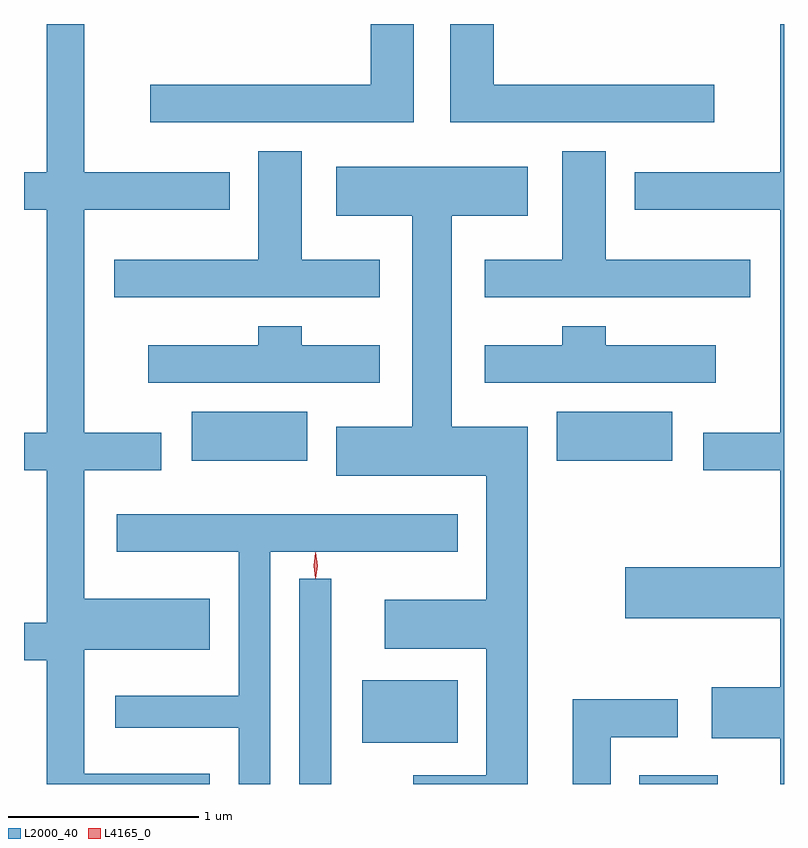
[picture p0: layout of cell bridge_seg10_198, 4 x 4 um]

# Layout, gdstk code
import gdstk
lib = gdstk.Library(unit=1e-6, precision=1e-09)
def R(c, l, rs):  # rectangles x0, y0, x1, y1
    for r in rs: c.add(gdstk.rectangle(r[:2], r[2:], *l))
def P(c, l, *ps):  # polygons
    for p in ps: c.add(gdstk.Polygon(p, *l))
L2000_40 = (2000, 40)
L4165_0 = (4165, 0)

bridge_seg10_198 = lib.new_cell('bridge_seg10_198')
R(bridge_seg10_198, L2000_40, [(1711.961,2141.094,1712.129,2142.173), (1713.751,2141.094,1714.164,2141.139), (1712.291,2141.311,1712.794,2141.639), (1711.396,2142.796,1712.004,2143.054), (1713.316,2142.796,1713.924,2143.054)])
P(bridge_seg10_198, L2000_40, [(1711.489,2141.149),(1710.829,2141.149),(1710.829,2141.801),(1711.489,2141.801),(1711.489,2142.069),(1710.829,2142.069),(1710.829,2142.746),(1711.234,2142.746),(1711.234,2142.944),(1710.829,2142.944),(1710.829,2144.116),(1711.594,2144.116),(1711.594,2144.314),(1710.829,2144.314),(1710.829,2145.094),(1710.631,2145.094),(1710.631,2144.314),(1710.512,2144.314),(1710.512,2144.116),(1710.631,2144.116),(1710.631,2142.944),(1710.512,2142.944),(1710.512,2142.746),(1710.631,2142.746),(1710.631,2141.944),(1710.512,2141.944),(1710.512,2141.746),(1710.631,2141.746),(1710.631,2141.094),(1711.489,2141.094)],
  [(1714.512,2145.094),(1714.491,2145.094),(1714.491,2144.314),(1713.726,2144.314),(1713.726,2144.116),(1714.491,2144.116),(1714.491,2142.944),(1714.086,2142.944),(1714.086,2142.746),(1714.491,2142.746),(1714.491,2142.234),(1713.676,2142.234),(1713.676,2141.966),(1714.491,2141.966),(1714.491,2141.604),(1714.131,2141.604),(1714.131,2141.336),(1714.491,2141.336),(1714.491,2141.094),(1714.512,2141.094)],
  [(1712.564,2145.094),(1712.336,2145.094),(1712.336,2144.774),(1711.176,2144.774),(1711.176,2144.576),(1712.564,2144.576)],
  [(1714.144,2144.774),(1712.984,2144.774),(1712.984,2145.094),(1712.756,2145.094),(1712.756,2144.576),(1714.144,2144.576)],
  [(1712.384,2143.854),(1711.974,2143.854),(1711.974,2144.424),(1711.746,2144.424),(1711.746,2143.854),(1710.986,2143.854),(1710.986,2143.656),(1712.384,2143.656)],
  [(1714.334,2143.854),(1713.574,2143.854),(1713.574,2144.424),(1713.346,2144.424),(1713.346,2143.854),(1712.936,2143.854),(1712.936,2143.656),(1714.334,2143.656)],
  [(1713.164,2142.974),(1712.764,2142.974),(1712.764,2144.086),(1713.164,2144.086),(1713.164,2144.344),(1712.156,2144.344),(1712.156,2144.086),(1712.556,2144.086),(1712.556,2142.974),(1712.156,2142.974),(1712.156,2142.716),(1712.946,2142.716),(1712.946,2142.064),(1712.411,2142.064),(1712.411,2141.806),(1712.946,2141.806),(1712.946,2141.139),(1712.561,2141.139),(1712.561,2141.094),(1713.164,2141.094)],
  [(1712.384,2143.404),(1711.974,2143.404),(1711.974,2143.504),(1711.746,2143.504),(1711.746,2143.404),(1711.166,2143.404),(1711.166,2143.206),(1712.384,2143.206)],
  [(1714.154,2143.404),(1713.574,2143.404),(1713.574,2143.504),(1713.346,2143.504),(1713.346,2143.404),(1712.936,2143.404),(1712.936,2143.206),(1714.154,2143.206)],
  [(1711.809,2142.316),(1712.794,2142.316),(1712.794,2142.514),(1711.001,2142.514),(1711.001,2142.316),(1711.641,2142.316),(1711.641,2141.559),(1710.993,2141.559),(1710.993,2141.391),(1711.641,2141.391),(1711.641,2141.094),(1711.809,2141.094)],
  [(1713.599,2141.341),(1713.954,2141.341),(1713.954,2141.539),(1713.401,2141.539),(1713.401,2141.094),(1713.599,2141.094)])
P(bridge_seg10_198, L4165_0, [(1712.046,2142.178),(1712.037,2142.244),(1712.046,2142.311),(1712.047,2142.311),(1712.047,2142.311),(1712.057,2142.244),(1712.047,2142.178),(1712.047,2142.178)],
  [(1712.048,2142.174),(1712.048,2142.175),(1712.038,2142.244),(1712.048,2142.313),(1712.048,2142.314),(1712.048,2142.313),(1712.058,2142.244),(1712.048,2142.175)])

lib.write_gds('bridge_seg10_198.gds')
